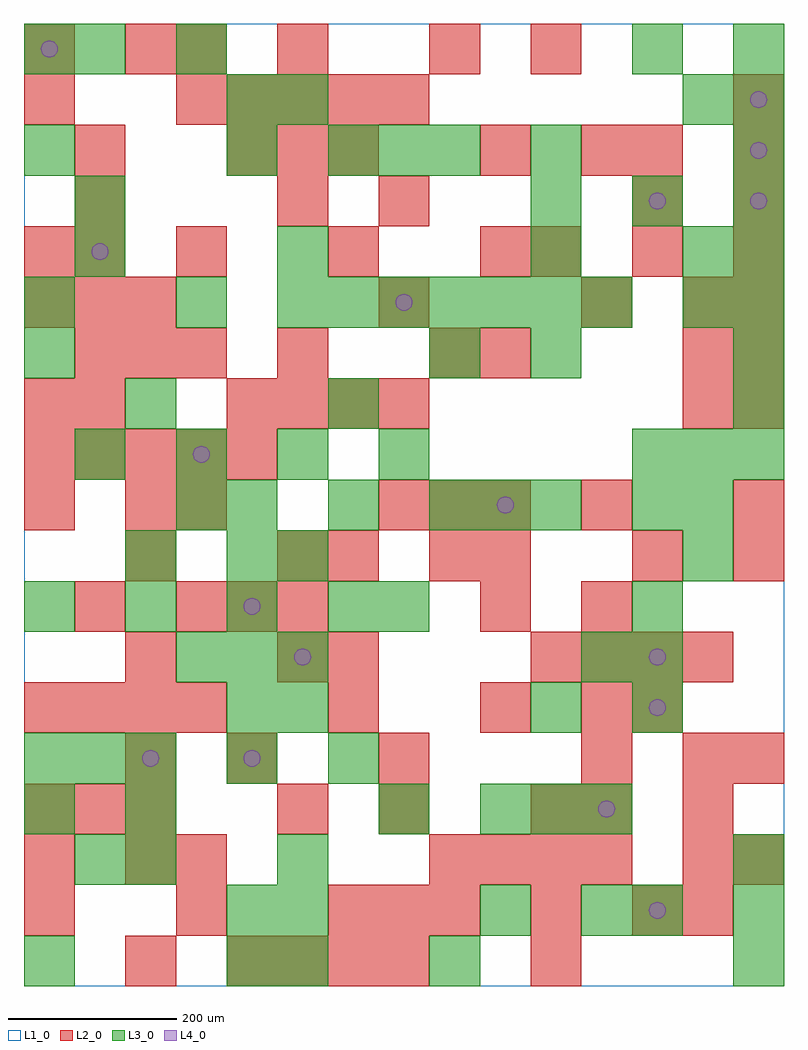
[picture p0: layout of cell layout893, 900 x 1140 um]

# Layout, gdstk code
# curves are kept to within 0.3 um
import gdstk
lib = gdstk.Library(unit=1e-6, precision=1e-09)
def R(c, l, rs):  # rectangles x0, y0, x1, y1
    for r in rs: c.add(gdstk.rectangle(r[:2], r[2:], *l))
def A(c, l, x, y, w, h, nx, ny, dx, dy):  # array of equal rectangles
    R(c, l, [(x+i*dx, y+j*dy, x+i*dx+w, y+j*dy+h) for i in range(nx) for j in range(ny)])
def P(c, l, *ps):  # polygons
    for p in ps: c.add(gdstk.Polygon(p, *l))
L1_0 = (1, 0)
L2_0 = (2, 0)
L3_0 = (3, 0)
L4_0 = (4, 0)

layout893 = lib.new_cell('layout893')
R(layout893, L1_0, [(0,0,900,1140)])
A(layout893, L2_0, 120, 0, 60, 60, 1, 5, 0, 120)
A(layout893, L2_0, 240, 0, 60, 60, 4, 2, 60, 660)
A(layout893, L2_0, 0, 60, 60, 60, 3, 1, 180, 0)
A(layout893, L2_0, 480, 60, 60, 60, 3, 1, 120, 0)
A(layout893, L2_0, 780, 60, 60, 60, 1, 4, 0, 60)
A(layout893, L2_0, 480, 120, 60, 60, 4, 1, 60, 0)
A(layout893, L2_0, 0, 180, 60, 60, 3, 2, 60, 600)
A(layout893, L2_0, 660, 180, 60, 60, 1, 3, 0, 60)
A(layout893, L2_0, 0, 300, 60, 60, 4, 1, 60, 0)
A(layout893, L2_0, 600, 360, 60, 60, 4, 1, 60, 0)
A(layout893, L2_0, 180, 420, 60, 60, 3, 1, 60, 0)
A(layout893, L2_0, 540, 480, 60, 60, 1, 3, 0, 240)
A(layout893, L2_0, 420, 540, 60, 60, 3, 1, 60, 0)
A(layout893, L2_0, 0, 600, 60, 60, 5, 1, 60, 0)
A(layout893, L2_0, 0, 660, 60, 60, 1, 3, 0, 180)
A(layout893, L2_0, 780, 660, 60, 60, 1, 3, 0, 60)
A(layout893, L2_0, 840, 660, 60, 60, 1, 3, 0, 60)
A(layout893, L2_0, 60, 720, 60, 60, 3, 1, 60, 0)
A(layout893, L2_0, 300, 720, 60, 60, 1, 3, 0, 180)
A(layout893, L2_0, 60, 840, 60, 60, 1, 3, 0, 60)
A(layout893, L2_0, 180, 840, 60, 60, 3, 1, 180, 0)
A(layout893, L2_0, 600, 840, 60, 60, 3, 1, 120, 0)
A(layout893, L2_0, 840, 900, 60, 60, 1, 3, 0, 60)
A(layout893, L2_0, 240, 960, 60, 60, 3, 1, 60, 0)
A(layout893, L2_0, 180, 1020, 60, 60, 5, 1, 60, 0)
R(layout893, L2_0, [(600,0,660,60), (420,60,480,120), (0,120,60,180), (180,120,240,180), (840,120,900,180), (300,180,360,240), (420,180,480,240), (600,180,660,240), (240,240,300,300), (420,240,480,300), (840,240,900,300), (360,300,420,360), (540,300,600,360), (720,300,780,360), (300,360,360,420), (360,360,420,420), (60,420,120,480), (540,420,600,480), (660,420,720,480), (300,480,360,540), (360,480,420,540), (480,480,540,540), (720,480,780,540), (840,480,900,540), (0,540,60,600), (120,540,180,600), (180,540,240,600), (660,540,720,600), (840,540,900,600), (60,660,120,720), (480,720,540,780), (420,780,480,840), (660,780,720,840), (420,900,480,960), (720,900,780,960), (660,960,720,1020), (720,960,780,1020), (0,1080,60,1140), (120,1080,180,1140), (180,1080,240,1140), (480,1080,540,1140), (600,1080,660,1140)])
A(layout893, L3_0, 300, 0, 60, 60, 1, 3, 0, 60)
A(layout893, L3_0, 840, 0, 60, 60, 1, 3, 0, 60)
A(layout893, L3_0, 540, 180, 60, 60, 3, 1, 60, 0)
A(layout893, L3_0, 0, 240, 60, 60, 3, 1, 60, 0)
A(layout893, L3_0, 720, 300, 60, 60, 1, 3, 0, 60)
A(layout893, L3_0, 180, 360, 60, 60, 3, 1, 60, 0)
A(layout893, L3_0, 0, 420, 60, 60, 4, 1, 120, 0)
A(layout893, L3_0, 240, 540, 60, 60, 3, 1, 120, 0)
A(layout893, L3_0, 60, 600, 60, 60, 4, 1, 120, 0)
A(layout893, L3_0, 720, 600, 60, 60, 3, 1, 60, 0)
A(layout893, L3_0, 840, 660, 60, 60, 1, 4, 0, 60)
A(layout893, L3_0, 600, 720, 60, 60, 1, 3, 0, 120)
A(layout893, L3_0, 300, 780, 60, 60, 7, 1, 60, 0)
A(layout893, L3_0, 600, 900, 60, 60, 3, 1, 120, 0)
A(layout893, L3_0, 360, 960, 60, 60, 3, 1, 60, 0)
A(layout893, L3_0, 840, 960, 60, 60, 1, 3, 0, 60)
R(layout893, L3_0, [(0,0,60,60), (240,0,300,60), (480,0,540,60), (240,60,300,120), (540,60,600,120), (660,60,720,120), (720,60,780,120), (60,120,120,180), (120,120,180,180), (0,180,60,240), (120,180,180,240), (420,180,480,240), (240,240,300,300), (360,240,420,300), (240,300,300,360), (300,300,360,360), (600,300,660,360), (660,360,720,420), (420,420,480,480), (120,480,180,540), (240,480,300,540), (300,480,360,540), (780,480,840,540), (180,540,240,600), (540,540,600,600), (600,540,660,600), (720,540,780,600), (780,540,840,600), (120,660,180,720), (360,660,420,720), (0,720,60,780), (480,720,540,780), (0,780,60,840), (180,780,240,840), (780,780,840,840), (60,840,120,900), (300,840,360,900), (780,840,840,900), (60,900,120,960), (0,960,60,1020), (240,960,300,1020), (240,1020,300,1080), (300,1020,360,1080), (780,1020,840,1080), (0,1080,60,1140), (60,1080,120,1140), (180,1080,240,1140), (720,1080,780,1140)])
P(layout893, L4_0, [(40,1110),(39.239,1113.827),(37.071,1117.071),(33.827,1119.239),(30,1120),(26.173,1119.239),(22.929,1117.071),(20.761,1113.827),(20,1110),(20.761,1106.173),(22.929,1102.929),(26.173,1100.761),(30,1100),(33.827,1100.761),(37.071,1102.929),(39.239,1106.173)],
  [(100,870),(99.239,873.827),(97.071,877.071),(93.827,879.239),(90,880),(86.173,879.239),(82.929,877.071),(80.761,873.827),(80,870),(80.761,866.173),(82.929,862.929),(86.173,860.761),(90,860),(93.827,860.761),(97.071,862.929),(99.239,866.173)],
  [(160,270),(159.239,273.827),(157.071,277.071),(153.827,279.239),(150,280),(146.173,279.239),(142.929,277.071),(140.761,273.827),(140,270),(140.761,266.173),(142.929,262.929),(146.173,260.761),(150,260),(153.827,260.761),(157.071,262.929),(159.239,266.173)],
  [(220,630),(219.239,633.827),(217.071,637.071),(213.827,639.239),(210,640),(206.173,639.239),(202.929,637.071),(200.761,633.827),(200,630),(200.761,626.173),(202.929,622.929),(206.173,620.761),(210,620),(213.827,620.761),(217.071,622.929),(219.239,626.173)],
  [(280,270),(279.239,273.827),(277.071,277.071),(273.827,279.239),(270,280),(266.173,279.239),(262.929,277.071),(260.761,273.827),(260,270),(260.761,266.173),(262.929,262.929),(266.173,260.761),(270,260),(273.827,260.761),(277.071,262.929),(279.239,266.173)],
  [(280,450),(279.239,453.827),(277.071,457.071),(273.827,459.239),(270,460),(266.173,459.239),(262.929,457.071),(260.761,453.827),(260,450),(260.761,446.173),(262.929,442.929),(266.173,440.761),(270,440),(273.827,440.761),(277.071,442.929),(279.239,446.173)],
  [(340,390),(339.239,393.827),(337.071,397.071),(333.827,399.239),(330,400),(326.173,399.239),(322.929,397.071),(320.761,393.827),(320,390),(320.761,386.173),(322.929,382.929),(326.173,380.761),(330,380),(333.827,380.761),(337.071,382.929),(339.239,386.173)],
  [(460,810),(459.239,813.827),(457.071,817.071),(453.827,819.239),(450,820),(446.173,819.239),(442.929,817.071),(440.761,813.827),(440,810),(440.761,806.173),(442.929,802.929),(446.173,800.761),(450,800),(453.827,800.761),(457.071,802.929),(459.239,806.173)],
  [(580,570),(579.239,573.827),(577.071,577.071),(573.827,579.239),(570,580),(566.173,579.239),(562.929,577.071),(560.761,573.827),(560,570),(560.761,566.173),(562.929,562.929),(566.173,560.761),(570,560),(573.827,560.761),(577.071,562.929),(579.239,566.173)],
  [(700,210),(699.239,213.827),(697.071,217.071),(693.827,219.239),(690,220),(686.173,219.239),(682.929,217.071),(680.761,213.827),(680,210),(680.761,206.173),(682.929,202.929),(686.173,200.761),(690,200),(693.827,200.761),(697.071,202.929),(699.239,206.173)],
  [(760,90),(759.239,93.827),(757.071,97.071),(753.827,99.239),(750,100),(746.173,99.239),(742.929,97.071),(740.761,93.827),(740,90),(740.761,86.173),(742.929,82.929),(746.173,80.761),(750,80),(753.827,80.761),(757.071,82.929),(759.239,86.173)],
  [(760,330),(759.239,333.827),(757.071,337.071),(753.827,339.239),(750,340),(746.173,339.239),(742.929,337.071),(740.761,333.827),(740,330),(740.761,326.173),(742.929,322.929),(746.173,320.761),(750,320),(753.827,320.761),(757.071,322.929),(759.239,326.173)],
  [(760,390),(759.239,393.827),(757.071,397.071),(753.827,399.239),(750,400),(746.173,399.239),(742.929,397.071),(740.761,393.827),(740,390),(740.761,386.173),(742.929,382.929),(746.173,380.761),(750,380),(753.827,380.761),(757.071,382.929),(759.239,386.173)],
  [(760,930),(759.239,933.827),(757.071,937.071),(753.827,939.239),(750,940),(746.173,939.239),(742.929,937.071),(740.761,933.827),(740,930),(740.761,926.173),(742.929,922.929),(746.173,920.761),(750,920),(753.827,920.761),(757.071,922.929),(759.239,926.173)],
  [(880,930),(879.239,933.827),(877.071,937.071),(873.827,939.239),(870,940),(866.173,939.239),(862.929,937.071),(860.761,933.827),(860,930),(860.761,926.173),(862.929,922.929),(866.173,920.761),(870,920),(873.827,920.761),(877.071,922.929),(879.239,926.173)],
  [(880,990),(879.239,993.827),(877.071,997.071),(873.827,999.239),(870,1000),(866.173,999.239),(862.929,997.071),(860.761,993.827),(860,990),(860.761,986.173),(862.929,982.929),(866.173,980.761),(870,980),(873.827,980.761),(877.071,982.929),(879.239,986.173)],
  [(880,1050),(879.239,1053.827),(877.071,1057.071),(873.827,1059.239),(870,1060),(866.173,1059.239),(862.929,1057.071),(860.761,1053.827),(860,1050),(860.761,1046.173),(862.929,1042.929),(866.173,1040.761),(870,1040),(873.827,1040.761),(877.071,1042.929),(879.239,1046.173)])

lib.write_gds('layout893.gds')
